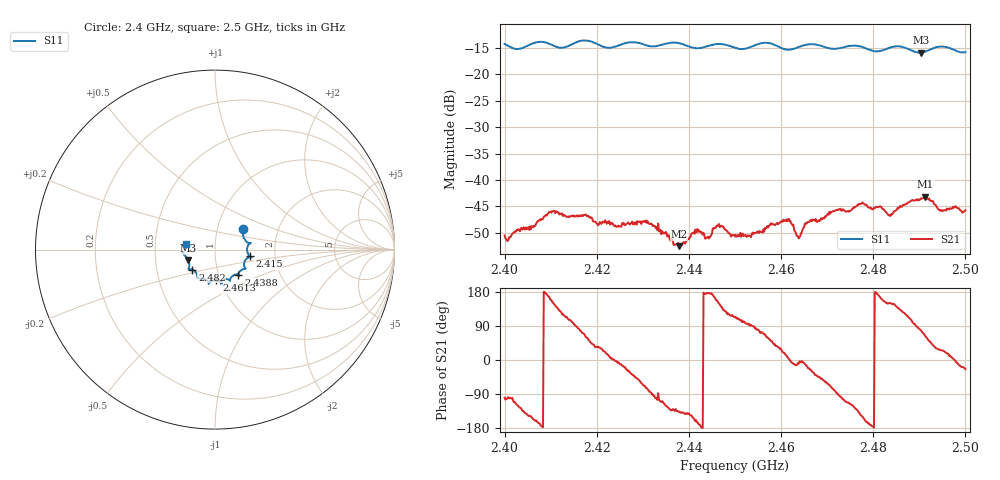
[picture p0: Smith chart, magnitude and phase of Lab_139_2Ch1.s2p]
# Hz S RI R 50
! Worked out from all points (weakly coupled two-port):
!   601 points, 2.4 GHz to 2.5 GHz, reference 50 ohm
!   highest |S21| = -43.16 dB at 2.4913 GHz (marker M1); lowest = -52.5 dB at 2.4378 GHz (marker M2)
!   lowest |S11| = -15.9 dB at 2.4903 GHz (marker M3), VSWR 1.38, Z = 36.8 - j4.47 ohm
!   |S11| at or under -10 dB: start of sweep to end of sweep
!   S12 and S22 are empty: the file has one direction only
!   S11 on the Smith chart (normalised r, x): 2.4 GHz: 1.33, +0.31; 2.415 GHz: 1.47, -0.11; 2.4388 GHz: 1.24, -0.36; 2.4613 GHz: 0.96, -0.34; 2.482 GHz: 0.76, -0.17; 2.5 GHz: 0.72, +0.05
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2.4e9  0.1578 0.1123  -0.000494 -0.00294  0 0  0 0
2.410167e9  0.1884 0.0293  -0.00455 0.00186  0 0  0 0
2.415e9  0.1925 -0.0361  -0.000344 0.0046  0 0  0 0
2.416667e9  0.2035 -0.044  0.0012 0.00441  0 0  0 0
2.433333e9  0.1323 -0.1314  0.000153 -0.00388  0 0  0 0
2.437833e9  0.1343 -0.1448  -0.0017 -0.00165  0 0  0 0
2.438833e9  0.13 -0.1407  -0.00195 -0.0017  0 0  0 0
2.441833e9  0.1011 -0.1445  -0.0033 -0.000974  0 0  0 0
2.444167e9  0.0851 -0.165  -0.00291 0.000178  0 0  0 0
2.4465e9  0.0842 -0.1747  -0.00331 0.00194  0 0  0 0
2.45e9  0.0686 -0.1648  -0.00119 0.00266  0 0  0 0
2.456833e9  0.0384 -0.195  0.00176 0.00307  0 0  0 0
2.461333e9  0.00793 -0.1711  0.00402 0.000632  0 0  0 0
2.463833e9  -0.0255 -0.1796  0.00276 -0.000467  0 0  0 0
2.466667e9  -0.0346 -0.1899  0.00355 -0.00202  0 0  0 0
2.4775e9  -0.0972 -0.1539  -0.00509 -0.00319  0 0  0 0
2.482e9  -0.1259 -0.1118  -0.00498 0.00189  0 0  0 0
2.483333e9  -0.1396 -0.1088  -0.00401 0.00236  0 0  0 0
2.490333e9  -0.149 -0.0591  0.00134 0.00656  0 0  0 0
2.491333e9  -0.1581 -0.0445  0.0032 0.00617  0 0  0 0
2.494667e9  -0.182 -0.0206  0.0046 0.00227  0 0  0 0
2.5e9  -0.1589 0.0324  0.00472 -0.00211  0 0  0 0
